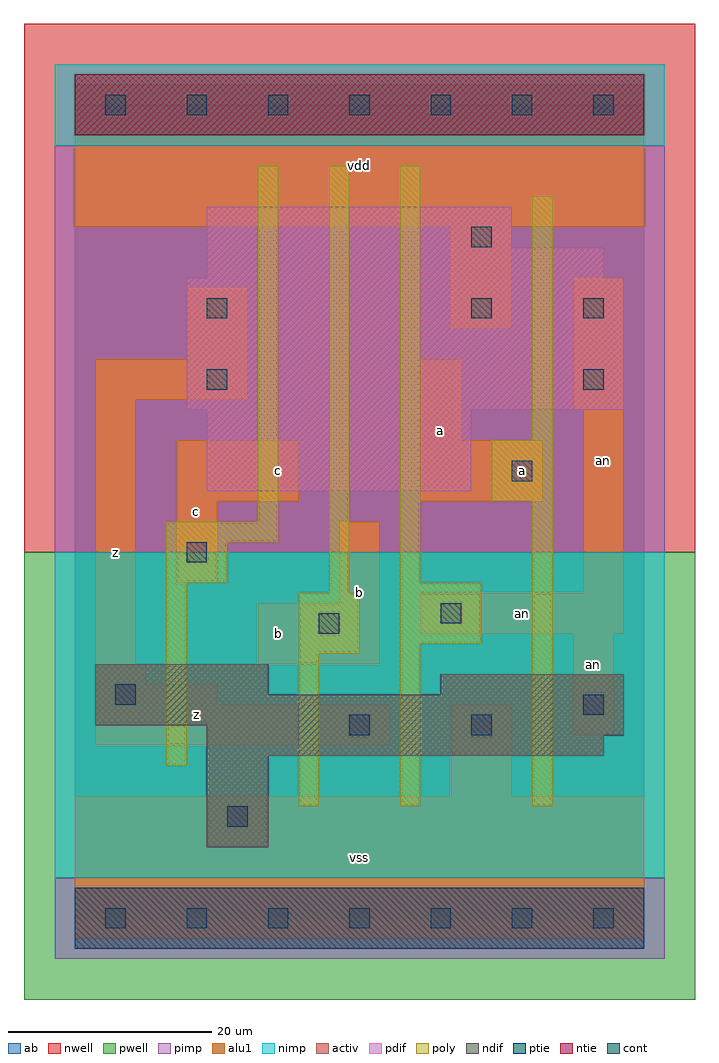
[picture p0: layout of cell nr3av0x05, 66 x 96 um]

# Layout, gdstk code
import gdstk
lib = gdstk.Library(unit=1e-6, precision=1e-09)
def R(c, l, rs):  # rectangles x0, y0, x1, y1
    for r in rs: c.add(gdstk.rectangle(r[:2], r[2:], *l))
def A(c, l, x, y, w, h, nx, ny, dx, dy):  # array of equal rectangles
    R(c, l, [(x+i*dx, y+j*dy, x+i*dx+w, y+j*dy+h) for i in range(nx) for j in range(ny)])
ndif = (3, 0)
pdif = (4, 0)
ntie = (5, 0)
ptie = (6, 0)
cont = (25, 0)
pwell = (41, 0)
nwell = (42, 0)
activ = (43, 0)
pimp = (44, 0)
nimp = (45, 0)
poly = (46, 0)
alu1 = (49, 0)
ab = (63, 0)

nr3av0x05 = lib.new_cell('nr3av0x05')
R(nr3av0x05, ndif, [(13,7,19,16), (13,16,52,18), (13,18,54,19), (2,19,54,22), (2,22,19,25), (36,22,54,24)])
R(nr3av0x05, pdif, [(13,42,39,50), (11,50,54,63), (13,63,52,66), (13,66,43,70)])
R(nr3av0x05, ntie, [(0,77,56,83)])
R(nr3av0x05, ptie, [(0,-3,56,3)])
A(nr3av0x05, cont, 3, -1, 2, 2, 7, 2, 8, 80)
R(nr3av0x05, cont, [(15,9,17,11), (27,18,29,20), (39,18,41,20), (50,20,52,22), (4,21,6,23), (24,28,26,30), (36,29,38,31), (11,35,13,37), (43,43,45,45), (13,52,15,54), (50,52,52,54), (13,59,15,61), (39,59,41,61), (50,59,52,61), (39,66,41,68)])
R(nr3av0x05, pwell, [(-5,-8,61,36)])
R(nr3av0x05, nwell, [(-5,36,61,88)])
R(nr3av0x05, activ, [(0,-3,56,3), (13,7,19,16), (13,16,52,18), (13,18,54,19), (2,19,54,22), (2,22,19,25), (36,22,54,24), (13,42,39,50), (11,50,54,63), (13,63,52,66), (13,66,43,70), (0,77,56,83)])
R(nr3av0x05, pimp, [(-2,-4,58,4), (-2,36,58,76)])
R(nr3av0x05, nimp, [(-2,4,58,36), (-2,76,58,84)])
R(nr3av0x05, poly, [(22,11,24,26), (32,11,34,27), (45,11,47,41), (9,15,11,33), (22,26,28,32), (32,27,40,33), (25,32,27,74), (9,33,15,37), (32,33,34,74), (9,37,20,39), (18,39,20,74), (41,41,47,47), (45,47,47,71)])
R(nr3av0x05, alu1, [(0,-2,56,12), (37,12,43,21), (2,17,31,21), (49,18,53,28), (2,21,14,23), (2,23,7,25), (2,25,6,51), (18,25,30,31), (34,28,54,32), (26,31,30,39), (50,32,54,50), (10,33,14,41), (10,41,22,47), (34,41,46,47), (34,47,38,55), (49,50,54,63), (2,51,17,55), (11,55,17,62), (37,58,43,68), (0,68,56,82)])
R(nr3av0x05, ab, [(0,0,56,80)])
nr3av0x05.add(gdstk.Label('an', (51,25), layer=49, texttype=0))
nr3av0x05.add(gdstk.Label('an', (44,30), layer=49, texttype=0))
nr3av0x05.add(gdstk.Label('an', (52,45), layer=49, texttype=0))
nr3av0x05.add(gdstk.Label('z', (4,36), layer=49, texttype=0))
nr3av0x05.add(gdstk.Label('z', (12,20), layer=49, texttype=0))
nr3av0x05.add(gdstk.Label('b', (20,28), layer=49, texttype=0))
nr3av0x05.add(gdstk.Label('c', (20,44), layer=49, texttype=0))
nr3av0x05.add(gdstk.Label('c', (12,40), layer=49, texttype=0))
nr3av0x05.add(gdstk.Label('vss', (28,6), layer=49, texttype=0))
nr3av0x05.add(gdstk.Label('b', (28,32), layer=49, texttype=0))
nr3av0x05.add(gdstk.Label('a', (36,48), layer=49, texttype=0))
nr3av0x05.add(gdstk.Label('vdd', (28,74), layer=49, texttype=0))
nr3av0x05.add(gdstk.Label('a', (44,44), layer=49, texttype=0))

lib.write_gds('nr3av0x05.gds')
